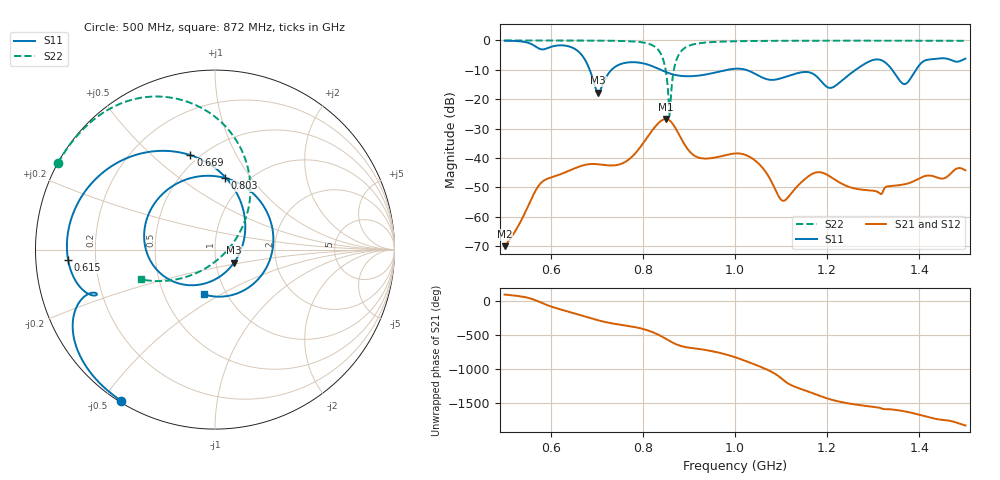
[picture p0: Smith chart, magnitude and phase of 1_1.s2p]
! TOUCHSTONE file generated by CST MICROWAVE STUDIO
! Date and time: Sat Nov 14 20:30:49 2020
! Project name: Scenario_1_Planar_Body_Tissue_Out_of_Line_v2.cst
! Parameters = {dy1=346; L_HA=400; Ltissue=700; MT=2.54; Rad_Dielectric=30; Rad_Lower=7.3; Rad_Upper=30; Wtissue=700; a_HA=580; a_WG=246; b_HA=500; b_WG=121; c_HA=0; c_WG=187; d_feed=85; dx1=173; h_feed=15; h_lower=18; h_upper=40; hfat=3; hgap=25; hmuscle=50; hskin=1.5}
! Header version: 2018
! Port assignment regex: !\s*Touchstone port\s*([0-9]+)\s*=\s*(CST MWS port|CST DS port)\s*([0-9]+|Zmin|Zmax)\s*\(\"(.*)\"\)(\s*mode\s*([0-9]+))?.*
! Touchstone port assignment:
! Touchstone port 1 = CST MWS port 1 ("")
! Touchstone port 2 = CST MWS port 2 ("")
# GHz S DB R 50
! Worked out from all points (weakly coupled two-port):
!   1003 points, 500 MHz to 1.5 GHz, reference 50 ohm
!   highest |S21| = -26.75 dB at 850 MHz (marker M1); lowest = -70.1 dB at 500 MHz (marker M2)
!   lowest |S11| = -17.8 dB at 703 MHz (marker M3), VSWR 1.30, Z = 61.1 - j9.08 ohm
!   |S11| at or under -10 dB: 838.7 MHz to 983.5 MHz (144.8 MHz wide, 15.9 % of centre); 1.023 GHz to 1.262 GHz (238.5 MHz wide, 20.9 % of centre); 1.341 GHz to 1.393 GHz (51.66 MHz wide, 3.78 % of centre) (the widest 3 of 4)
!   |S22| runs from -25.6 to 0.0 dB; largest |S21 - S12| = 6.4e-06
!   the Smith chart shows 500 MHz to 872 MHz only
!   S11 on the Smith chart (normalised r, x): 500 MHz: 0.01, -0.56; 615 MHz: 0.10, -0.03; 669 MHz: 0.45, +0.67; 803 MHz: 0.79, +0.76; 872 MHz: 0.79, -0.42
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0.5  -0.08 -121.8  -70.07 101.4  -70.06 101.4  -0.01 151.1
0.615  -1.72 -176.0  -45.92 -105.5  -45.92 -105.5  -0.02 142.9
0.667  -4.89 108.8  -42.69 151.8  -42.69 151.8  -0.04 138.4
0.669  -5.29 104.6  -42.60 147.7  -42.60 147.7  -0.04 138.2
0.703  -17.80 -34.5  -42.17 80.9  -42.17 80.9  -0.07 134.5
0.753  -7.98 171.5  -42.02 13.3  -42.02 13.3  -0.18 126.9
0.803  -7.89 82.3  -34.49 -51.6  -34.49 -51.6  -0.77 111.2
0.834  -9.67 8.3  -28.14 -133.0  -28.14 -133.0  -3.31 84.6
0.85  -10.76 -37.0  -26.75 168.2  -26.75 168.2  -10.49 51.2
0.859  -11.27 -64.1  -27.38 132.7  -27.38 132.7  -24.59 -76.7
0.872  -11.81 -103.7  -30.19 88.1  -30.19 88.1  -7.08 -157.9
0.938  -11.56 89.8  -40.22 0.9  -40.22 0.9  -0.69 151.8
1  -9.63 -22.9  -38.49 -103.6  -38.49 -103.6  -0.28 140.3
1.06  -12.69 -159.7  -43.43 102.0  -43.43 102.0  -0.16 133.4
1.104  -12.68 76.3  -54.62 -76.3  -54.62 -76.3  -0.12 129.4
1.167  -11.18 -57.0  -45.51 89.4  -45.51 89.4  -0.10 124.2
1.202  -16.02 -176.2  -45.95 3.7  -45.95 3.7  -0.09 121.5
1.261  -10.11 58.9  -50.47 -81.8  -50.47 -81.8  -0.08 117.0
1.334  -8.66 -30.3  -49.65 -151.2  -49.64 -151.2  -0.08 111.5
1.368  -14.87 -13.8  -48.98 177.6  -48.98 177.6  -0.09 108.9
1.413  -6.79 -7.2  -46.15 103.7  -46.15 103.7  -0.10 105.3
1.5  -6.20 -40.2  -44.24 -31.1  -44.24 -31.1  -0.13 98.0
